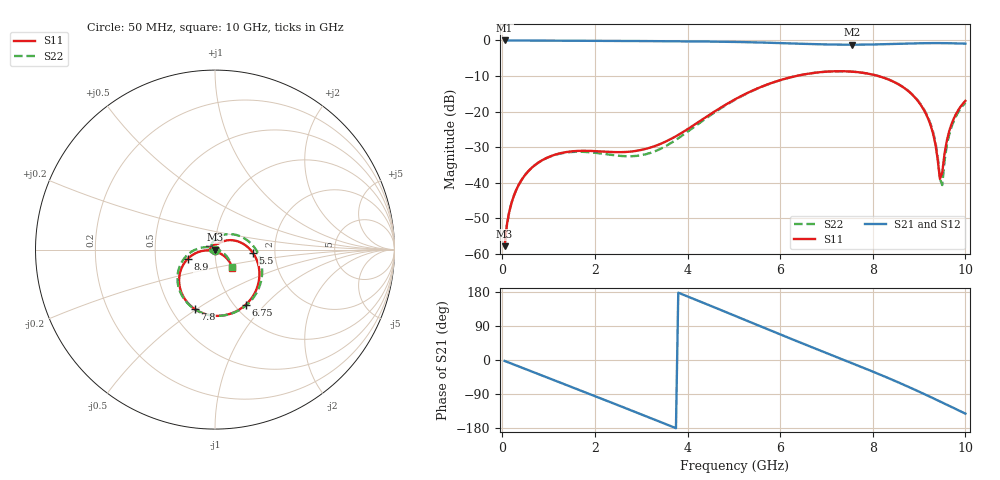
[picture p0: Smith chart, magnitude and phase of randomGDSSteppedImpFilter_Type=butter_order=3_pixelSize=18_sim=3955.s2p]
! freq	dB(S11)	phase(S11)	dB(S12)	phase(S12)
!  dB(S21)	phase(S21)	dB(S22)	phase(S22)
!S-par simulation data
#  GHz  S  DB  R 50
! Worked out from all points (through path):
!   200 points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, 50 MHz to 10 GHz, reference 50 ohm
!   highest |S21| = -0.01 dB at 50 MHz (marker M1); lowest = -1.2 dB at 7.55 GHz (marker M2)
!   group delay of S21, straight-line fit = 138 ps
!   lowest |S11| = -57.8 dB at 50 MHz (marker M3), VSWR 1.00, Z = 50 - j0.129 ohm
!   |S11| at or under -10 dB: start of sweep to 6.341 GHz; 8.12 GHz to end of sweep
!   |S22| runs from -57.8 to -8.6 dB; largest |S21 - S12| = 0
!   S11 on the Smith chart (normalised r, x): 50 MHz: 1.00, -0.00; 5.5 GHz: 1.53, -0.05; 6.75 GHz: 1.12, -0.79; 7.8 GHz: 0.65, -0.49; 8.9 GHz: 0.73, -0.08; 10 GHz: 1.19, -0.25
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0.05  -57.79 -89.0  -0.01 -2.4  -0.01 -2.4  -57.79 -88.5
0.2  -45.60 -98.2  -0.02 -9.6  -0.02 -9.6  -45.59 -96.2
0.5  -37.67 -115.6  -0.03 -23.9  -0.03 -23.9  -37.66 -110.7
1.05  -32.48 -148.1  -0.06 -50.0  -0.06 -50.0  -32.54 -136.2
1.75  -31.00 168.8  -0.10 -83.4  -0.10 -83.4  -31.29 -164.6
2.5  -31.38 116.6  -0.14 -119.3  -0.14 -119.3  -32.37 171.3
3.4  -29.15 65.9  -0.20 -162.8  -0.20 -162.8  -30.55 134.2
4.2  -23.24 43.6  -0.28 157.9  -0.28 157.9  -23.75 82.3
5.05  -16.37 14.4  -0.42 115.4  -0.42 115.4  -16.48 31.8
5.5  -13.53 -4.5  -0.55 92.7  -0.55 92.7  -13.58 7.2
6.7  -9.17 -58.5  -1.03 33.0  -1.03 33.0  -9.17 -54.7
6.75  -9.08 -60.8  -1.05 30.5  -1.05 30.5  -9.09 -57.2
7.55  -8.76 -97.3  -1.20 -8.3  -1.20 -8.3  -8.76 -96.6
7.8  -9.12 -108.8  -1.18 -20.6  -1.18 -20.6  -9.11 -109.0
8.35  -11.02 -134.7  -1.03 -48.4  -1.03 -48.4  -11.00 -137.2
8.9  -15.87 -161.2  -0.82 -78.0  -0.82 -78.0  -15.78 -167.7
9.25  -23.86 -174.6  -0.75 -97.8  -0.75 -97.8  -23.52 169.2
9.35  -28.98 -172.9  -0.75 -103.5  -0.75 -103.5  -28.36 159.3
9.45  -38.90 -130.1  -0.75 -109.3  -0.75 -109.3  -38.89 123.4
9.5  -37.12 -65.6  -0.76 -112.2  -0.76 -112.2  -40.62 39.2
9.65  -25.50 -34.8  -0.78 -121.0  -0.78 -121.0  -26.45 -20.8
10  -16.97 -46.9  -0.91 -141.5  -0.91 -141.5  -17.48 -46.4
